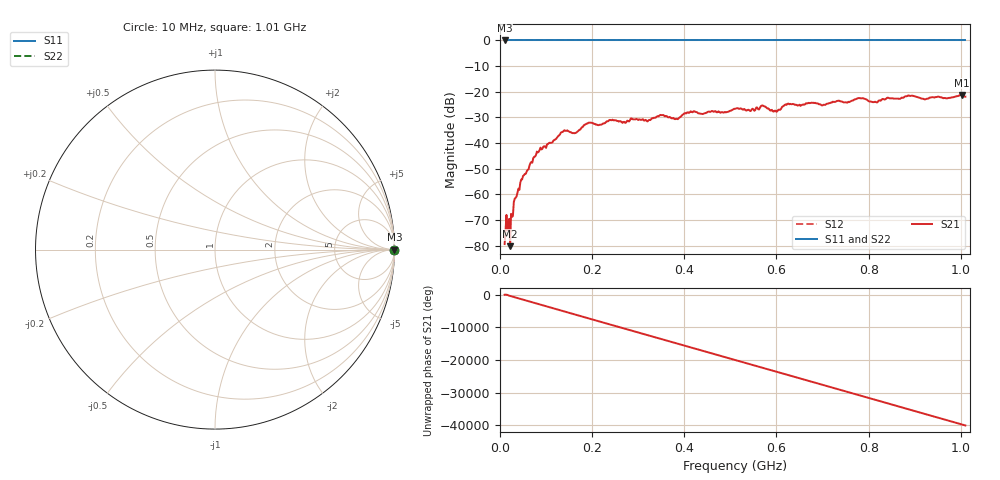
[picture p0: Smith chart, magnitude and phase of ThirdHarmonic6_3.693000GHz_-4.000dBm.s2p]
! 8/17/2025 12:31:55 PM
! C:\ANRITSUVNA\TEMP\TEMP.S2P
! CHANNEL.1
! TR.MEASUREMENT
! RAW.DATA
! RF.CORRECTION.OFF
! AVERAGING.OFF
! IF.BANDWIDTH: 5KHZ
! SWEEPTYPE:  FREQ.SWEEP(Linear)
! Reference Plane Port Info
! PORT:  PORT1  PORT2
! DISTANCE:  0  m  0  m
! TIME:  0  s  0  s
! PHASE.OFFSET:  0  deg.  0  deg.
! LOSS:  0  dB  0  dB
! REF.LOSS:  0  dB  0  dB
! REF.FREQ:  0  Hz  0  Hz
! Power Info
! POWER:  -20  dBm  -20  dBm
! EFF.POWER:  -20  dBm  -20  dBm
! SOURCE.ATTEN:  0  dB  0  dB
! TEST.ATTEN:  0  dB  0  dB
# GHZ S RI R 50.0
! FREQ.GHZ  S11RE  S11IM  S21RE  S21IM  S12RE  S12IM  S22RE  S22IM
!; PortSelection: Port_12
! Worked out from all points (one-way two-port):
!   501 points, 10 MHz to 1.01 GHz, reference 50 ohm
!   highest |S21| = -21.25 dB at 1.002 GHz (marker M1); lowest = -80.3 dB at 22 MHz (marker M2)
!   lowest |S11| = 0.0 dB at 10 MHz (marker M3)
!   |S11| at or under -10 dB: nowhere
!   |S22| runs from 0.0 to 0.0 dB; largest |S21 - S12| = 1.1
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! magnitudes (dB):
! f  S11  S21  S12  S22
! 10 MHz  0.0  -79.5  0.0  0.0
! 16 MHz  0.0  -74.0  0.0  0.0
! 22 MHz  0.0  -80.3  0.0  0.0
! 26 MHz  0.0  -68.8  0.0  0.0
! 28 MHz  0.0  -68.5  0.0  0.0
! 34 MHz  0.0  -61.4  0.0  0.0
! 48 MHz  0.0  -54.2  0.0  0.0
! 84 MHz  0.0  -43.4  0.0  0.0
! 136 MHz  0.0  -35.7  0.0  0.0
! 162 MHz  0.0  -36.2  0.0  0.0
! 178 MHz  0.0  -33.8  0.0  0.0
! 344 MHz  0.0  -29.6  0.0  0.0
! 382 MHz  0.0  -30.6  0.0  0.0
! 418 MHz  0.0  -28.0  0.0  0.0
! 510 MHz  0.0  -26.7  0.0  0.0
! 570 MHz  0.0  -25.3  0.0  0.0
! 598 MHz  0.0  -27.4  0.0  0.0
! 622 MHz  0.0  -25.1  0.0  0.0
! 678 MHz  0.0  -24.3  0.0  0.0
! 844 MHz  0.0  -22.5  0.0  0.0
! 1.002 GHz  0.0  -21.3  0.0  0.0
! 1.01 GHz  0.0  -21.9  0.0  0.0
